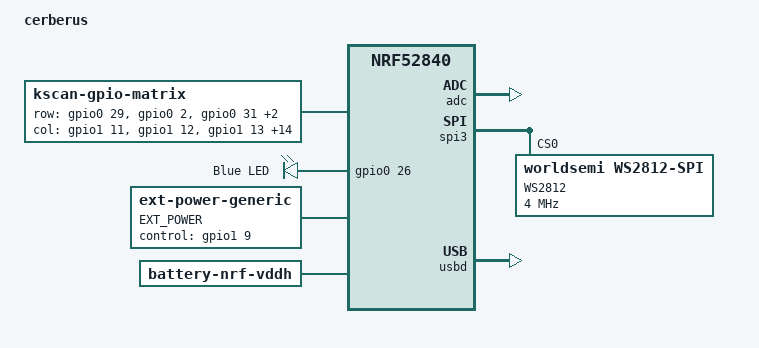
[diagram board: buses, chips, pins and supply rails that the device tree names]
/*
 * Copyright (c) 2024 Andrew Kannan
 *
 * SPDX-License-Identifier: MIT
 */

/dts-v1/;
#include <nordic/nrf52840_qiaa.dtsi>

#include <dt-bindings/led/led.h>
#include <dt-bindings/zmk/matrix_transform.h>

#include "cerberus-pinctrl.dtsi"
#include "cerberus-transforms.dtsi"
#include "cerberus-layouts.dtsi"


/ {
    model = "cerberus";
    compatible = "cannonkeys,cerberus";

    chosen {
        zephyr,code-partition = &code_partition;
        zephyr,sram = &sram0;
        zephyr,flash = &flash0;
        zmk,battery = &vbatt;
        zmk,kscan = &kscan0;
        zmk,physical-layout = &physical_layout1;
        zmk,underglow = &led_strip;
    };

    kscan0: kscan {
        compatible = "zmk,kscan-gpio-matrix";
        wakeup-source;
        label = "KSCAN";

        diode-direction = "col2row";
        row-gpios
            = <&gpio0 29 (GPIO_ACTIVE_HIGH | GPIO_PULL_DOWN)>
            , <&gpio0 2  (GPIO_ACTIVE_HIGH | GPIO_PULL_DOWN)>
            , <&gpio0 31 (GPIO_ACTIVE_HIGH | GPIO_PULL_DOWN)>
            , <&gpio0 28 (GPIO_ACTIVE_HIGH | GPIO_PULL_DOWN)>
            , <&gpio1 10 (GPIO_ACTIVE_HIGH | GPIO_PULL_DOWN)>
            ;
        col-gpios
            = <&gpio1 11 GPIO_ACTIVE_HIGH>
            , <&gpio1 12 GPIO_ACTIVE_HIGH>
            , <&gpio1 13 GPIO_ACTIVE_HIGH>
            , <&gpio1 14 GPIO_ACTIVE_HIGH>
            , <&gpio1 15 GPIO_ACTIVE_HIGH>
            , <&gpio0 3  GPIO_ACTIVE_HIGH>
            , <&gpio0 30 GPIO_ACTIVE_HIGH>
            , <&gpio0 22 GPIO_ACTIVE_HIGH>
            , <&gpio0 4  GPIO_ACTIVE_HIGH>
            , <&gpio0 23 GPIO_ACTIVE_HIGH>
            , <&gpio0 20 GPIO_ACTIVE_HIGH>
            , <&gpio1 0  GPIO_ACTIVE_HIGH>
            , <&gpio0 24 GPIO_ACTIVE_HIGH>
            , <&gpio0 25 GPIO_ACTIVE_HIGH>
            , <&gpio1 2  GPIO_ACTIVE_HIGH>
            , <&gpio0 9  GPIO_ACTIVE_HIGH>
            , <&gpio0 10 GPIO_ACTIVE_HIGH>
            ;
    };

    leds {
        compatible = "gpio-leds";
        blue_led: led_0 {
            gpios = <&gpio0 26 GPIO_ACTIVE_HIGH>;
            label = "Blue LED";
        };
    };

    ext-power {
        compatible = "zmk,ext-power-generic";
        label = "EXT_POWER";
        control-gpios = <&gpio1 9 GPIO_ACTIVE_HIGH>;
    };

    vbatt: vbatt {
        compatible = "zmk,battery-nrf-vddh";
        label = "BATTERY";
    };

};

&adc {
    status = "okay";
};

&gpiote {
    status = "okay";
};

&gpio0 {
    status = "okay";
};

&gpio1 {
    status = "okay";
};

&spi3 {
    compatible = "nordic,nrf-spim";

    pinctrl-0 = <&spi3_default>;
    pinctrl-1 = <&spi3_sleep>;
    pinctrl-names = "default", "sleep";
    status = "okay";

    led_strip: ws2812@0 {
        compatible = "worldsemi,ws2812-spi";
        label = "WS2812";

        /* SPI */
        reg = <0>; /* ignored, but necessary for SPI bindings */
        spi-max-frequency = <4000000>;

        /* WS2812 */
        chain-length = <4>; /* LED strip length */
        spi-one-frame = <0x70>;
        spi-zero-frame = <0x40>;
        color-mapping = <LED_COLOR_ID_GREEN LED_COLOR_ID_RED LED_COLOR_ID_BLUE>;
    };
};

zephyr_udc0: &usbd {
    status = "okay";
};

&flash0 {
    /*
     * For more information, see:
     * http://docs.zephyrproject.org/latest/devices/dts/flash_partitions.html
     */
    partitions {
        compatible = "fixed-partitions";
        #address-cells = <1>;
        #size-cells = <1>;

        sd_partition: partition@0 {
            label = "mbr";
            reg = <0x00000000 0x00001000>;
        };

        code_partition: partition@1000 {
            label = "code_partition";
            reg = <0x00001000 0x000d3000>;
        };

        /*
         * The flash starting at 0x000d4000 and ending at
         * 0x000f3fff is reserved for use by the application.
         */

        /*
         * Storage partition will be used by FCB/LittleFS/NVS
         * if enabled.
         */
        storage_partition: partition@d4000 {
            label = "storage";
            reg = <0x000d4000 0x00020000>;
        };

        boot_partition: partition@f4000 {
            label = "adafruit_boot";
            reg = <0x000f4000 0x0000c000>;
        };
    };
};
